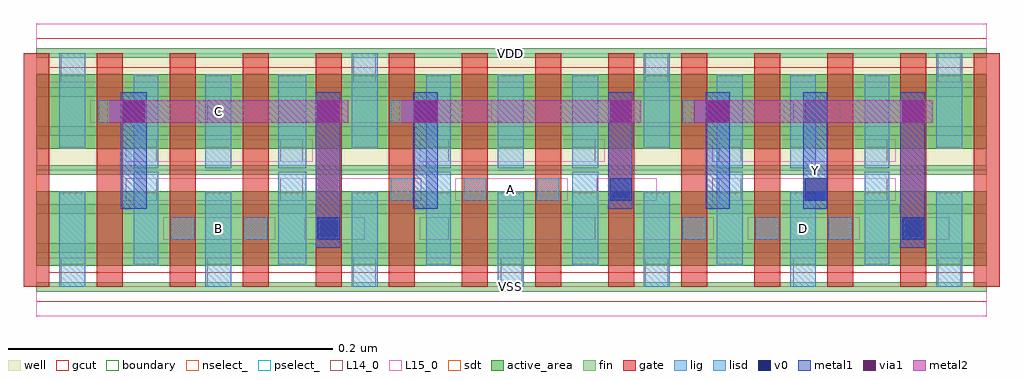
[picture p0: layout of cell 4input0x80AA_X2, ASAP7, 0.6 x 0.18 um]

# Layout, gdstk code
import gdstk
lib = gdstk.Library(unit=1e-6, precision=1e-09)
def R(c, l, rs):  # rectangles x0, y0, x1, y1
    for r in rs: c.add(gdstk.rectangle(r[:2], r[2:], *l))
def A(c, l, x, y, w, h, nx, ny, dx, dy):  # array of equal rectangles
    R(c, l, [(x+i*dx, y+j*dy, x+i*dx+w, y+j*dy+h) for i in range(nx) for j in range(ny)])
def P(c, l, *ps):  # polygons
    for p in ps: c.add(gdstk.Polygon(p, *l))
well = (1, 0)
fin = (2, 0)
gate = (7, 0)
gcut = (10, 0)
active_area = (11, 0)
nselect_ = (12, 0)
pselect_ = (13, 0)
L14_0 = (14, 0)
L15_0 = (15, 0)
lig = (16, 0)
lisd = (17, 0)
v0 = (18, 0)
metal1 = (19, 0)
metal2 = (20, 0)
via1 = (21, 0)
sdt = (88, 0)
boundary = (100, 0)

c_4input0x80aa_x2 = lib.new_cell('4input0x80AA_X2')
R(c_4input0x80aa_x2, well, [(0,0.072,0.585,0.144)])
A(c_4input0x80aa_x2, fin, 0, -0.003, 0.585, 0.006, 1, 7, 0, 0.024)
A(c_4input0x80aa_x2, gate, -0.008, 0, 0.016, 0.144, 14, 1, 0.045, 0)
P(c_4input0x80aa_x2, gcut, [(0,-0.009),(0,0),(-0.008,0),(-0.008,0.135),(0.008,0.135),(0.008,0.009),(0.577,0.009),(0.577,0.135),(-0.008,0.135),(-0.008,0.144),(0,0.144),(0,0.153),(0.585,0.153),(0.585,0.144),(0.593,0.144),(0.593,0),(0.585,0),(0.585,-0.009)])
R(c_4input0x80aa_x2, active_area, [(0,0.013,0.585,0.059), (0,0.085,0.585,0.131)])
R(c_4input0x80aa_x2, nselect_, [(0,0,0.585,0.072)])
R(c_4input0x80aa_x2, pselect_, [(0,0.072,0.585,0.144)])
A(c_4input0x80aa_x2, L14_0, 0.083, 0.029, 0.014, 0.014, 3, 1, 0.045, 0)
A(c_4input0x80aa_x2, L14_0, 0.398, 0.029, 0.014, 0.014, 4, 1, 0.045, 0)
A(c_4input0x80aa_x2, L14_0, 0.218, 0.053, 0.014, 0.014, 4, 1, 0.045, 0)
A(c_4input0x80aa_x2, L14_0, 0.06, 0.077, 0.014, 0.014, 6, 1, 0.09, 0)
A(c_4input0x80aa_x2, L14_0, 0.038, 0.101, 0.014, 0.014, 3, 1, 0.18, 0)
A(c_4input0x80aa_x2, L14_0, 0.195, 0.126, 0.014, 0.018, 3, 1, 0.18, 0)
R(c_4input0x80aa_x2, L14_0, [(0.015,0,0.03,0.018), (0.105,0,0.12,0.018), (0.195,0,0.209,0.018), (0.286,0,0.299,0.018), (0.375,0,0.389,0.018), (0.466,0,0.48,0.018), (0.555,0,0.569,0.018), (0.24,0.029,0.254,0.043), (0.33,0.029,0.344,0.043), (0.06,0.053,0.074,0.067), (0.15,0.053,0.164,0.067), (0.42,0.053,0.434,0.067), (0.51,0.053,0.524,0.067), (0.105,0.101,0.12,0.115), (0.286,0.101,0.299,0.115), (0.466,0.101,0.48,0.115), (0.015,0.126,0.03,0.144)])
R(c_4input0x80aa_x2, L15_0, [(0,-0.018,0.585,0.018), (0.078,0.029,0.147,0.043), (0.165,0.029,0.202,0.043), (0.236,0.029,0.417,0.043), (0.438,0.029,0.507,0.043), (0.525,0.029,0.562,0.043), (0.055,0.053,0.237,0.067), (0.258,0.053,0.327,0.067), (0.345,0.053,0.382,0.067), (0.416,0.053,0.529,0.067), (0.055,0.077,0.17,0.091), (0.236,0.077,0.35,0.091), (0.416,0.077,0.529,0.091), (0.033,0.101,0.075,0.115), (0.1,0.101,0.255,0.115), (0.28,0.101,0.435,0.115), (0.46,0.101,0.495,0.115), (0,0.126,0.585,0.162)])
A(c_4input0x80aa_x2, lig, 0.083, 0.029, 0.014, 0.014, 3, 1, 0.045, 0)
A(c_4input0x80aa_x2, lig, 0.398, 0.029, 0.014, 0.014, 4, 1, 0.045, 0)
A(c_4input0x80aa_x2, lig, 0.218, 0.053, 0.014, 0.014, 4, 1, 0.045, 0)
A(c_4input0x80aa_x2, lig, 0.038, 0.101, 0.014, 0.014, 3, 1, 0.18, 0)
A(c_4input0x80aa_x2, lisd, 0.014, 0, 0.016, 0.059, 7, 1, 0.09, 0)
A(c_4input0x80aa_x2, lisd, 0.014, 0.085, 0.016, 0.059, 4, 1, 0.18, 0)
R(c_4input0x80aa_x2, lisd, [(0.06,0.013,0.075,0.071), (0.149,0.013,0.166,0.071), (0.24,0.013,0.255,0.071), (0.33,0.013,0.346,0.071), (0.419,0.013,0.435,0.071), (0.51,0.013,0.525,0.071), (0.06,0.073,0.075,0.131), (0.104,0.073,0.12,0.131), (0.149,0.073,0.166,0.131), (0.24,0.073,0.255,0.131), (0.284,0.073,0.3,0.131), (0.33,0.073,0.346,0.131), (0.419,0.073,0.435,0.131), (0.464,0.073,0.48,0.131), (0.51,0.073,0.525,0.131)])
A(c_4input0x80aa_x2, v0, 0.053, 0.101, 0.014, 0.014, 3, 1, 0.18, 0)
R(c_4input0x80aa_x2, v0, [(0.173,0.029,0.187,0.043), (0.533,0.029,0.547,0.043), (0.353,0.053,0.367,0.067), (0.473,0.053,0.487,0.067), (0.473,0.101,0.487,0.115)])
A(c_4input0x80aa_x2, metal1, 0.352, 0.048, 0.015, 0.072, 3, 1, 0.06, 0)
R(c_4input0x80aa_x2, metal1, [(0.172,0.024,0.187,0.12), (0.532,0.024,0.547,0.12), (0.052,0.048,0.068,0.12), (0.232,0.048,0.247,0.12)])
A(c_4input0x80aa_x2, metal2, 0.045, 0.101, 0.147, 0.014, 3, 1, 0.18, 0)
R(c_4input0x80aa_x2, via1, [(0.053,0.101,0.067,0.115), (0.173,0.101,0.187,0.115), (0.233,0.101,0.247,0.115), (0.353,0.101,0.367,0.115), (0.413,0.101,0.427,0.115), (0.533,0.101,0.547,0.115)])
A(c_4input0x80aa_x2, sdt, 0.014, 0.014, 0.016, 0.044, 4, 2, 0.09, 0.072)
A(c_4input0x80aa_x2, sdt, 0.374, 0.014, 0.016, 0.044, 3, 2, 0.045, 0.072)
R(c_4input0x80aa_x2, sdt, [(0.06,0.014,0.075,0.058), (0.149,0.014,0.166,0.058), (0.24,0.014,0.255,0.058), (0.33,0.014,0.346,0.058), (0.51,0.014,0.525,0.058), (0.554,0.014,0.57,0.058), (0.06,0.086,0.075,0.13), (0.149,0.086,0.166,0.13), (0.24,0.086,0.255,0.13), (0.33,0.086,0.346,0.13), (0.51,0.086,0.525,0.13), (0.554,0.086,0.57,0.13)])
R(c_4input0x80aa_x2, boundary, [(0,0,0.585,0.144)])
c_4input0x80aa_x2.add(gdstk.Label('D', (0.472,0.036), layer=15, texttype=251))
c_4input0x80aa_x2.add(gdstk.Label('VSS', (0.292,0), layer=15, texttype=251))
c_4input0x80aa_x2.add(gdstk.Label('VDD', (0.292,0.144), layer=15, texttype=251))
c_4input0x80aa_x2.add(gdstk.Label('A', (0.292,0.06), layer=15, texttype=251))
c_4input0x80aa_x2.add(gdstk.Label('VSS', (0.292,0), layer=15, texttype=251))
c_4input0x80aa_x2.add(gdstk.Label('VDD', (0.292,0.144), layer=15, texttype=251))
c_4input0x80aa_x2.add(gdstk.Label('B', (0.112,0.036), layer=15, texttype=251))
c_4input0x80aa_x2.add(gdstk.Label('VSS', (0.292,0), layer=15, texttype=251))
c_4input0x80aa_x2.add(gdstk.Label('VDD', (0.292,0.144), layer=15, texttype=251))
c_4input0x80aa_x2.add(gdstk.Label('VSS', (0.292,0), layer=15, texttype=251))
c_4input0x80aa_x2.add(gdstk.Label('VDD', (0.292,0.144), layer=15, texttype=251))
c_4input0x80aa_x2.add(gdstk.Label('VSS', (0.292,0), layer=15, texttype=251))
c_4input0x80aa_x2.add(gdstk.Label('VDD', (0.292,0.144), layer=15, texttype=251))
c_4input0x80aa_x2.add(gdstk.Label('VSS', (0.292,0), layer=3, texttype=251))
c_4input0x80aa_x2.add(gdstk.Label('VSS', (0.292,0), layer=3, texttype=251))
c_4input0x80aa_x2.add(gdstk.Label('VSS', (0.292,0), layer=3, texttype=251))
c_4input0x80aa_x2.add(gdstk.Label('VSS', (0.292,0), layer=3, texttype=251))
c_4input0x80aa_x2.add(gdstk.Label('VSS', (0.292,0), layer=3, texttype=251))
c_4input0x80aa_x2.add(gdstk.Label('VDD', (0.292,0.144), layer=1, texttype=251))
c_4input0x80aa_x2.add(gdstk.Label('VDD', (0.292,0.144), layer=1, texttype=251))
c_4input0x80aa_x2.add(gdstk.Label('VDD', (0.292,0.144), layer=1, texttype=251))
c_4input0x80aa_x2.add(gdstk.Label('VDD', (0.292,0.144), layer=1, texttype=251))
c_4input0x80aa_x2.add(gdstk.Label('VDD', (0.292,0.144), layer=1, texttype=251))
c_4input0x80aa_x2.add(gdstk.Label('C', (0.112,0.108), layer=20, texttype=251))
c_4input0x80aa_x2.add(gdstk.Label('Y', (0.48,0.072), layer=19, texttype=251))

lib.write_gds('4input0x80AA_X2.gds')
